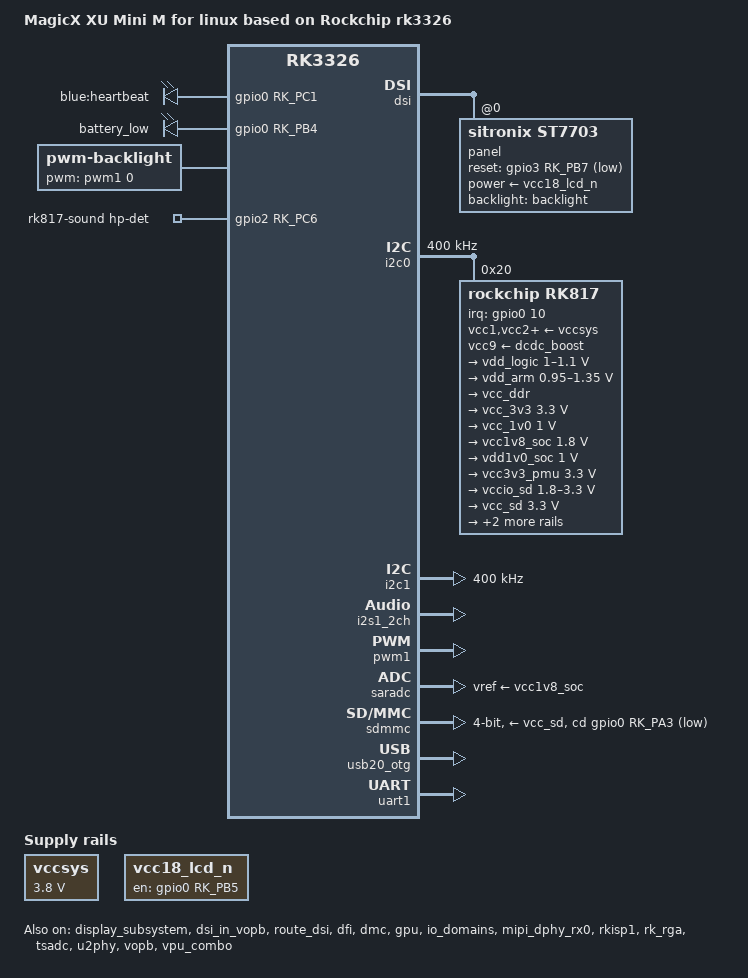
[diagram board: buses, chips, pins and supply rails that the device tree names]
/*
 * (C) Copyright 2020 Hardkernel Co., Ltd
 *
 * SPDX-License-Identifier:     GPL-2.0+
 *
 * MagicX XU Mini M: rg351v-uboot.dts with the Mini M panel timing/init and
 * its GPIO-switched panel rail (vcc18_lcd_n), for the boot logo and charge
 * screen only. Button/LED/battery nodes are unused by U-Boot and left as-is.
 */

/dts-v1/;
#include <dt-bindings/display/drm_mipi_dsi.h>
#include <dt-bindings/gpio/gpio.h>
#include <dt-bindings/input/input.h>
#include <dt-bindings/pinctrl/rockchip.h>
#include "px30.dtsi"
#include "rk3326.dtsi"
#include "rk3326-linux.dtsi"

/ {
	model = "MagicX XU Mini M for linux based on Rockchip rk3326";
	compatible = "rockchip,rk3326-rg351v-linux", "rockchip,rk3326";

	chosen {
		bootargs = "";
	};

	fiq-debugger {
		compatible = "rockchip,fiq-debugger";
		rockchip,serial-id = <2>;
		rockchip,wake-irq = <0>;
		rockchip,irq-mode-enable = <0>;
		rockchip,baudrate = <115200>;
		interrupts = <GIC_SPI 127 IRQ_TYPE_LEVEL_LOW>;
		pinctrl-names = "default";
		pinctrl-0 = <&uart2m1_xfer>;
		status = "okay";
	};

	leds: gpio_leds {
		compatible = "gpio-leds";
		status = "okay";

		heartbeat {
			label = "blue:heartbeat";
			gpios = <&gpio0 RK_PC1 GPIO_ACTIVE_HIGH>;
			default-state = "off";
		};

		battery {
			label = "battery_low";
			gpios = <&gpio0 RK_PB4 GPIO_ACTIVE_HIGH>;
			default-state = "on";
		};
	};

	backlight: backlight {
		compatible = "pwm-backlight";
		pwms = <&pwm1 0 62745 0>;
		brightness-levels = <
			  2   3   4   5   6   7   8   9  10  11
			 12  13  14  15  16  17  18  19  20  21
			 22  23  24  25  26  27  28  29  30  31
			 32  33  34  35  36  37  38  39  40  41
			 42  43  44  45  46  47  48  49  50  51
			 52  53  54  55  56  57  58  59  60  61
			 62  63  64  65  66  67  68  69  70  71
			 72  73  74  75  76  77  78  79  80  81
			 82  83  84  85  86  87  88  89  90  91
			 92  93  94  95  96  97  98  99 100 101
			102>;
		default-brightness-level = <30>;
	};

	rk817-sound {
		compatible = "simple-audio-card";
		simple-audio-card,format = "i2s";
		simple-audio-card,name = "rockchip,rk817-codec";
		simple-audio-card,mclk-fs = <256>;
		simple-audio-card,widgets =
			"Microphone", "Mic Jack",
			"Headphone", "Headphone Jack";
		simple-audio-card,routing =
			"MIC_IN", "Mic Jack",
			"Headphone Jack", "HPOL",
			"Headphone Jack", "HPOR";
		simple-audio-card,hp-det-gpio = <&gpio2 RK_PC6 GPIO_ACTIVE_HIGH>;
		simple-audio-card,codec-hp-det = <1>;
		simple-audio-card,cpu {
			sound-dai = <&i2s1_2ch>;
		};
		simple-audio-card,codec {
			sound-dai = <&rk817_codec>;
		};
	};

	vccsys: vccsys {
		compatible = "regulator-fixed";
		regulator-name = "vcc3v8_sys";
		regulator-always-on;
		regulator-min-microvolt = <3800000>;
		regulator-max-microvolt = <3800000>;
	};

	/* GPIO-switched panel logic rail; the Mini M has no RK817 LDO for it. */
	vcc18_lcd_n: vcc18-lcd-n {
		compatible = "regulator-fixed";
		regulator-name = "vcc18_lcd_n";
		regulator-boot-on;
		gpio = <&gpio0 RK_PB5 GPIO_ACTIVE_HIGH>;
		enable-active-high;
	};

	charge-animation {
		compatible = "rockchip,uboot-charge";
		status = "okay";

		rockchip,uboot-charge-on = <1>;
		rockchip,android-charge-on = <0>;
		rockchip,uboot-exit-charge-level = <1>;
		rockchip,uboot-exit-charge-voltage = <3300>;
		rockchip,screen-on-voltage = <3100>;
		rockchip,uboot-low-power-voltage = <3050>;
		rockchip,system-suspend = <0>;
		rockchip,auto-off-screen-interval = <10>;
		rockchip,auto-wakeup-interval = <10>;
		rockchip,auto-wakeup-screen-invert = <1>;
	};
};


&bus_apll {
	bus-supply = <&vdd_logic>;
	status = "okay";
};

&cpu0 {
	cpu-supply = <&vdd_arm>;
};

&cpu0_opp_table {
	rockchip,avs = <1>;

	rockchip,bin-scaling-sel = <
		0               13
		1               13
	>;

	/delete-node/ opp-408000000;
	/delete-node/ opp-600000000;
	/delete-node/ opp-816000000;
	/delete-node/ opp-1416000000;
	/delete-node/ opp-1512000000;
};

&display_subsystem {
	status = "okay";
};

&dsi {
	status = "okay";

	panel@0 {
		compatible = "sitronix,st7703", "simple-panel-dsi";
		reg = <0>;

		backlight = <&backlight>;
		/* No separate backlight rail; the panel logic rail is GPIO-switched. */
		power-supply = <&vcc18_lcd_n>;

		/* Panel reset: GPIO3_B7, active low (RG351V uses GPIO3_C0) */
		reset-gpios = <&gpio3 RK_PB7 GPIO_ACTIVE_LOW>;

		prepare-delay-ms = <5>;
		reset-delay-ms = <20>;
		init-delay-ms = <20>;
		enable-delay-ms = <120>;
		disable-delay-ms = <50>;
		unprepare-delay-ms = <20>;

		width-mm = <69>;
		height-mm = <139>;

		dsi,flags = <(MIPI_DSI_MODE_VIDEO           |
			      MIPI_DSI_MODE_VIDEO_BURST     |
			      MIPI_DSI_MODE_LPM             |
			      MIPI_DSI_MODE_EOT_PACKET)>;

		dsi,format = <MIPI_DSI_FMT_RGB888>;
		dsi,lanes = <2>;
		panel-init-sequence = [
			39 00 06 FF 77 01 00 00 13
			15 00 02 EF 08
			39 00 06 FF 77 01 00 00 10
			39 00 03 C0 4F 00
			39 00 03 C1 10 02
			39 00 03 C2 20 02
			15 00 02 CC 10
			39 00 11 B0 06 16 1E 0E 12 06 0A 08 09 23 04 12 10 2B 31 1F
			39 00 11 B1 06 0F 16 0D 10 07 04 09 07 20 05 12 10 26 2F 1F
			39 00 06 FF 77 01 00 00 11
			15 00 02 B0 65
			15 00 02 B1 85
			15 00 02 B2 82
			15 00 02 B3 80
			15 00 02 B5 42
			15 00 02 B7 85
			15 00 02 B8 20
			15 00 02 C1 78
			15 00 02 C2 78
			15 00 02 D0 88
			39 00 04 E0 00 00 02
			39 00 0C E1 04 A0 06 A0 05 A0 07 A0 00 44 44
			39 00 0D E2 00 00 00 00 00 00 00 00 00 00 00 00
			39 00 05 E3 00 00 22 22
			39 00 03 E4 44 44
			39 00 11 E5 0C 90 A0 A0 0E 92 A0 A0 08 8C A0 A0 0A 8E A0 A0
			39 00 05 E6 00 00 22 22
			39 00 03 E7 44 44
			39 00 11 E8 0D 91 A0 A0 0F 93 A0 A0 09 8D A0 A0 0B 8F A0 A0
			39 00 08 EB 00 00 E4 E4 44 00 40
			39 00 11 ED FF F5 47 6F 0B A1 AB FF FF BA 1A B0 F6 74 5F FF
			39 00 07 EF 08 08 08 40 3F 64
			39 00 06 FF 77 01 00 00 13
			39 00 03 E6 16 7C
			39 00 03 E8 00 0E
			39 32 03 E8 00 0C
			39 00 03 E8 00 00
			39 00 06 FF 77 01 00 00 00
			05 96 01 11
			05 78 01 29
		];

		/* 28: DisplayOff */
		/* 10: SleepIn */
		panel-exit-sequence = [
			05 14 01 28
			05 0A 01 10
		];

		display-timings {
			native-mode = <&timing0>;

			timing0: timing0 {
				clock-frequency = <25000000>;
				hactive = <480>;
				vactive = <640>;
				hfront-porch = <60>;
				hsync-len = <10>;
				hback-porch = <54>;
				vfront-porch = <20>;
				vsync-len = <10>;
				vback-porch = <20>;
				hsync-active = <0>;
				vsync-active = <0>;
				de-active = <0>;
				pixelclk-active = <0>;
			};
		};
	};
};

&dsi_in_vopb {
	status = "okay";
};

&route_dsi {
	connect = <&vopb_out_dsi>;
	status = "okay";
};

&dfi {
	status = "okay";
};

&dmc {
	center-supply = <&vdd_logic>;
	status = "okay";
};

&emmc {
	status = "disabled";
};

&sfc {
	status = "disabled";
};

&gpu {
	mali-supply = <&vdd_logic>;
	status = "okay";
};

&i2c0 {
	status = "okay";
	clock-frequency = <400000>;
	i2c-scl-rising-time-ns = <280>;
	i2c-scl-falling-time-ns = <16>;

	rk817: pmic@20 {
		compatible = "rockchip,rk817";
		reg = <0x20>;
		interrupt-parent = <&gpio0>;
		interrupts = <10 IRQ_TYPE_LEVEL_LOW>;
		pinctrl-names = "default", "pmic-sleep",
				"pmic-power-off", "pmic-reset";
		pinctrl-0 = <&pmic_int>;
		pinctrl-1 = <&soc_slppin_slp>, <&rk817_slppin_slp>;
		pinctrl-2 = <&soc_slppin_gpio>, <&rk817_slppin_pwrdn>;
		pinctrl-3 = <&soc_slppin_rst>, <&rk817_slppin_rst>;
		rockchip,system-power-controller;
		wakeup-source;
		#clock-cells = <1>;
		clock-output-names = "rk808-clkout1", "rk808-clkout2";

		pmic-reset-func = <1>;

		vcc1-supply = <&vccsys>;
		vcc2-supply = <&vccsys>;
		vcc3-supply = <&vccsys>;
		vcc4-supply = <&vccsys>;
		vcc5-supply = <&vccsys>;
		vcc6-supply = <&vccsys>;
		vcc7-supply = <&vccsys>;
		vcc8-supply = <&vccsys>;
		vcc9-supply = <&dcdc_boost>;

		pwrkey {
			status = "okay";
		};

		pinctrl_rk8xx: pinctrl_rk8xx {
			gpio-controller;
			#gpio-cells = <2>;

			rk817_ts_gpio1: rk817_ts_gpio1 {
				pins = "gpio_ts";
				function = "pin_fun1";
			};

			rk817_gt_gpio2: rk817_gt_gpio2 {
				pins = "gpio_gt";
				function = "pin_fun1";
			};

			rk817_pin_ts: rk817_pin_ts {
				pins = "gpio_ts";
				function = "pin_fun0";
			};

			rk817_pin_gt: rk817_pin_gt {
				pins = "gpio_gt";
				function = "pin_fun0";
			};

			rk817_slppin_null: rk817_slppin_null {
				pins = "gpio_slp";
				function = "pin_fun0";
			};

			rk817_slppin_slp: rk817_slppin_slp {
				pins = "gpio_slp";
				function = "pin_fun1";
			};

			rk817_slppin_pwrdn: rk817_slppin_pwrdn {
				pins = "gpio_slp";
				function = "pin_fun2";
			};

			rk817_slppin_rst: rk817_slppin_rst {
				pins = "gpio_slp";
				function = "pin_fun3";
			};
		};

		regulators {
			vdd_logic: DCDC_REG1 {
				regulator-always-on;
				regulator-boot-on;
				regulator-min-microvolt = <1000000>;
				regulator-max-microvolt = <1100000>;
				regulator-ramp-delay = <6001>;
				regulator-initial-mode = <0x2>;
				regulator-name = "vdd_logic";
				regulator-state-mem {
					regulator-on-in-suspend;
					regulator-suspend-microvolt = <950000>;
				};
			};

			vdd_arm: DCDC_REG2 {
				regulator-always-on;
				regulator-boot-on;
				regulator-min-microvolt = <950000>;
				regulator-max-microvolt = <1350000>;
				regulator-ramp-delay = <6001>;
				regulator-initial-mode = <0x2>;
				regulator-name = "vdd_arm";
				regulator-state-mem {
					regulator-off-in-suspend;
					regulator-suspend-microvolt = <950000>;
				};
			};

			vcc_ddr: DCDC_REG3 {
				regulator-always-on;
				regulator-boot-on;
				regulator-initial-mode = <0x2>;
				regulator-name = "vcc_ddr";
				regulator-state-mem {
					regulator-on-in-suspend;
				};
			};

			vcc_3v3: DCDC_REG4 {
				regulator-always-on;
				regulator-boot-on;
				regulator-min-microvolt = <3300000>;
				regulator-max-microvolt = <3300000>;
				regulator-initial-mode = <0x2>;
				regulator-name = "vcc_3v3";
				regulator-state-mem {
					regulator-off-in-suspend;
					regulator-suspend-microvolt = <3300000>;
				};
			};

			vcc_1v0: LDO_REG1 {
				regulator-min-microvolt = <1000000>;
				regulator-max-microvolt = <1000000>;
				regulator-name = "vcc_1v0";
				regulator-state-mem {
					regulator-off-in-suspend;
					regulator-suspend-microvolt = <1000000>;
				};
			};

			vcc1v8_soc: LDO_REG2 {
				regulator-always-on;
				regulator-boot-on;
				regulator-min-microvolt = <1800000>;
				regulator-max-microvolt = <1800000>;
				regulator-name = "vcc1v8_soc";
				regulator-state-mem {
					regulator-on-in-suspend;
					regulator-suspend-microvolt = <1800000>;
				};
			};

			vdd1v0_soc: LDO_REG3 {
				regulator-always-on;
				regulator-boot-on;
				regulator-min-microvolt = <1000000>;
				regulator-max-microvolt = <1000000>;
				regulator-name = "vcc1v0_soc";
				regulator-state-mem {
					regulator-on-in-suspend;
					regulator-suspend-microvolt = <1000000>;
				};
			};

			vcc3v3_pmu: LDO_REG4 {
				regulator-always-on;
				regulator-boot-on;
				regulator-min-microvolt = <3300000>;
				regulator-max-microvolt = <3300000>;
				regulator-name = "vcc3v3_pmu";
				regulator-state-mem {
					regulator-on-in-suspend;
					regulator-suspend-microvolt = <3300000>;
				};
			};

			vccio_sd: LDO_REG5 {
				regulator-always-on;
				regulator-boot-on;
				regulator-min-microvolt = <1800000>;
				regulator-max-microvolt = <3300000>;
				regulator-name = "vccio_sd";
				regulator-state-mem {
					regulator-on-in-suspend;
					regulator-suspend-microvolt = <3300000>;
				};
			};

			vcc_sd: LDO_REG6 {
				regulator-min-microvolt = <3300000>;
				regulator-max-microvolt = <3300000>;
				regulator-boot-on;
				regulator-name = "vcc_sd";
				regulator-state-mem {
					regulator-on-in-suspend;
					regulator-suspend-microvolt = <3300000>;
				};
			};

			dcdc_boost: BOOST {
				regulator-always-on;
				regulator-boot-on;
				regulator-min-microvolt = <5000000>;
				regulator-max-microvolt = <5400000>;
				regulator-name = "boost";
			};

			otg_switch: OTG_SWITCH {
				regulator-boot-on;
				regulator-name = "otg_switch";
			};
		};

		battery {
			compatible = "rk817_fg";
			ocv_table = <3158 3434 3495 3546 3584 3617 3647
			3676 3701 3724 3753 3793 3843 3896
			3950 4009 4068 4124 4178 4245 4330>;

			design_capacity = <2300>;
			design_qmax = <2300>;
			bat_res = <100>;
			sleep_enter_current = <300>;
			sleep_exit_current = <300>;
			sleep_filter_current = <100>;
			power_off_thresd = <3300>;
			zero_algorithm_vol = <3850>;
			max_soc_offset = <60>;
			monitor_sec = <5>;
			virtual_power = <0>;
			sample_res = <10>;
			power_dc2otg = <0>;
		};

		charger {
			compatible = "rk817,charger";
			min_input_voltage = <4500>;
			max_input_current = <1500>;
			max_chrg_current = <2000>;
			max_chrg_voltage = <4400>;
			chrg_term_mode = <0>;
			chrg_finish_cur = <52>;
			virtual_power = <0>;
			sample_res = <10>;

			dc_det_gpio  = <&gpio0 RK_PB3 GPIO_ACTIVE_HIGH>;

			extcon = <&u2phy>;
		};

		rk817_codec: codec {
			#sound-dai-cells = <0>;
			compatible = "rockchip,rk817-codec";
			clocks = <&cru SCLK_I2S1_OUT>;
			clock-names = "mclk";
			pinctrl-names = "default";
			pinctrl-0 = <&i2s1_2ch_mclk>;
			hp-volume = <20>;
			spk-volume = <0>;
			status = "okay";
		};
	};
};

&i2c1 {
	status = "okay";
	clock-frequency = <400000>;
};

&i2c2 {
	status = "disabled";
};

&i2s1_2ch {
	status = "okay";
	#sound-dai-cells = <0>;
};

&io_domains {
	status = "okay";

	vccio1-supply = <&vccio_sd>;
	vccio2-supply = <&vccio_sd>;
	vccio3-supply = <&vcc_3v3>;
	vccio4-supply = <&vcc_3v3>;
	vccio5-supply = <&vcc_3v3>;
	vccio6-supply = <&vcc_3v3>;
};

&isp_mmu {
	status = "okay";
};

&mipi_dphy_rx0 {
	status = "okay";
};

&rkisp1 {
	status = "okay";
};

&spi0 {
	status = "disabled";
};

&pmu_io_domains {
	status = "okay";

	pmuio1-supply = <&vcc3v3_pmu>;
	pmuio2-supply = <&vcc3v3_pmu>;
};

&pwm1 {
	status = "okay";
};

&rk_rga {
	status = "okay";
};

&saradc {
	status = "okay";
	vref-supply = <&vcc1v8_soc>;
};

&sdmmc {
	bus-width = <4>;
	cap-mmc-highspeed;
	cap-sd-highspeed;
	supports-sd;
	card-detect-delay = <800>;
	ignore-pm-notify;
	cd-gpios = <&gpio0 RK_PA3 GPIO_ACTIVE_LOW>;
	sd-uhs-sdr12;
	sd-uhs-sdr25;
	sd-uhs-sdr50;
	sd-uhs-sdr104;
	vqmmc-supply = <&vccio_sd>;
	vmmc-supply = <&vcc_sd>;
	status = "okay";
};

&sdio {
	status = "disabled";
};

&tsadc {
	pinctrl-names = "gpio", "otpout";
	pinctrl-0 = <&tsadc_otp_gpio>;
	pinctrl-1 = <&tsadc_otp_out>;
	status = "okay";
};

&u2phy {
	status = "okay";

	u2phy_host: host-port {
		status = "okay";
	};

	u2phy_otg: otg-port {
		status = "disabled";
	};
};

&usb20_otg {
	status = "okay";
};

&uart1 {
	pinctrl-names = "default";
	pinctrl-0 = <&uart1_xfer &uart1_cts>;
	status = "okay";
};

&vip_mmu {
	status = "okay";
};

&vopb {
	status = "okay";
};

&vopb_mmu {
	status = "okay";
};

&vpu_combo {
	status = "okay";
};

&pinctrl {
	pmic {
		pmic_int: pmic_int {
			rockchip,pins =
				<0 RK_PB2 RK_FUNC_GPIO &pcfg_pull_up>,
				<0 RK_PB3 RK_FUNC_GPIO &pcfg_pull_none>;
		};

		soc_slppin_gpio: soc_slppin_gpio {
			rockchip,pins =
				<0 RK_PA4 RK_FUNC_GPIO &pcfg_output_low>;
		};

		soc_slppin_slp: soc_slppin_slp {
			rockchip,pins =
				<0 RK_PA4 RK_FUNC_1 &pcfg_pull_none>;
		};

		soc_slppin_rst: soc_slppin_rst {
			rockchip,pins =
				<0 RK_PA4 RK_FUNC_2 &pcfg_pull_none>;
		};
	};

	leds {
		led_pins: led-pins {
			rockchip,pins = <0 RK_PC1 RK_FUNC_GPIO &pcfg_pull_none>;
		};
	};
	btns {
		btn_pins: btn-pins {
			rockchip,pins = <1 RK_PB4 RK_FUNC_GPIO &pcfg_pull_up>,
					<1 RK_PB5 RK_FUNC_GPIO &pcfg_pull_up>,
					<1 RK_PB6 RK_FUNC_GPIO &pcfg_pull_up>,
					<1 RK_PB7 RK_FUNC_GPIO &pcfg_pull_up>,
					<1 RK_PB0 RK_FUNC_GPIO &pcfg_pull_up>,

					<2 RK_PA0 RK_FUNC_GPIO &pcfg_pull_up>,
					<2 RK_PA1 RK_FUNC_GPIO &pcfg_pull_up>,
					<2 RK_PA2 RK_FUNC_GPIO &pcfg_pull_up>,
					<2 RK_PA3 RK_FUNC_GPIO &pcfg_pull_up>,
					<2 RK_PA4 RK_FUNC_GPIO &pcfg_pull_up>,
					<2 RK_PA5 RK_FUNC_GPIO &pcfg_pull_up>,
					<2 RK_PA6 RK_FUNC_GPIO &pcfg_pull_up>,
					<2 RK_PA7 RK_FUNC_GPIO &pcfg_pull_up>,
					<3 RK_PB2 RK_FUNC_GPIO &pcfg_pull_up>,
					<3 RK_PB7 RK_FUNC_GPIO &pcfg_pull_up>;
		};
	};
};
